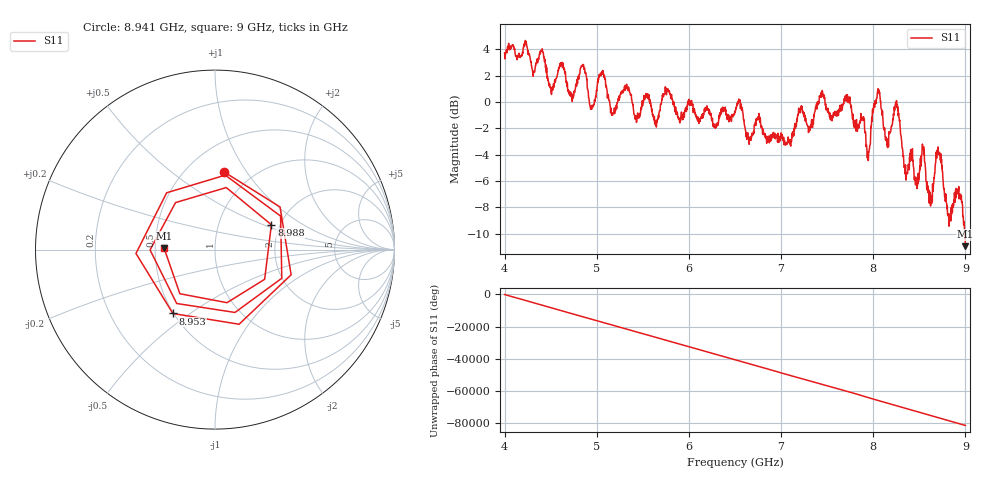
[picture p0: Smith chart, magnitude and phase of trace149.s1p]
! Created with skrf 1.8.0 (http://scikit-rf.org).
# Hz S RI R 50.0
!freq ReS11 ImS11
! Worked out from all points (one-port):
!   1601 points, 4 GHz to 9 GHz, reference 50 ohm
!   lowest |S11| = -10.9 dB at 9 GHz (marker M1), VSWR 1.79, Z = 27.9 + j0.483 ohm
!   |S11| at or under -10 dB: 8.991941 GHz to end of sweep
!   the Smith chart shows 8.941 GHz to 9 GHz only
!   S11 on the Smith chart (normalised r, x): 8.941 GHz: 0.74, +0.79; 8.953 GHz: 0.50, -0.43; 8.988 GHz: 1.80, +0.57; 9 GHz: 0.56, +0.01
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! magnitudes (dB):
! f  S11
! 4 GHz  3.7
! 4.403 GHz  4.0
! 4.509 GHz  0.6
! 4.625 GHz  3.0
! 4.725 GHz  0.4
! 4.844 GHz  2.7
! 4.944 GHz  -0.6
! 5.05 GHz  2.2
! 5.169 GHz  -0.9
! 5.25 GHz  0.3
! 5.875 GHz  -0.8
! 6.5 GHz  -0.8
! 7.125 GHz  -2.6
! 7.441 GHz  0.4
! 7.75 GHz  -0.1
! 7.947 GHz  -4.5
! 8.044 GHz  0.6
! 8.153 GHz  -2.8
! 8.253 GHz  0.1
! 8.375 GHz  -5.2
! 8.538 GHz  -3.5
! 8.625 GHz  -7.2
! 8.709 GHz  -3.8
! 8.819 GHz  -8.7
! 8.941 GHz  -7.2
! 8.953 GHz  -7.4
! 8.988 GHz  -9.3
! 9 GHz  -10.9
